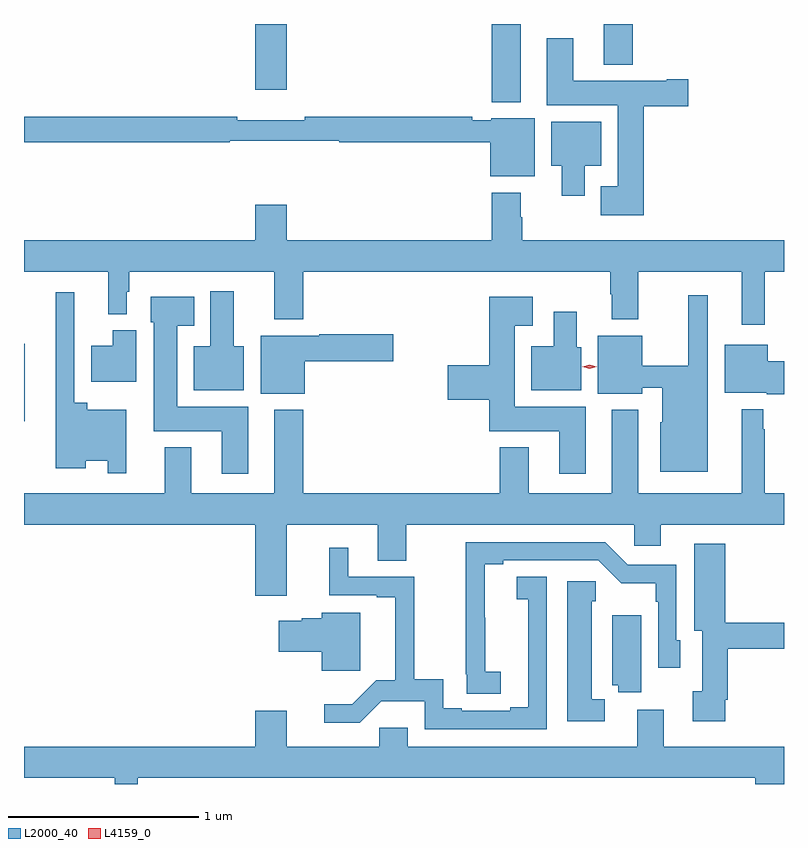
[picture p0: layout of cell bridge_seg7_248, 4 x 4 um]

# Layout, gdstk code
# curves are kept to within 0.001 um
import gdstk
lib = gdstk.Library(unit=1e-6, precision=1e-09)
def R(c, l, rs):  # rectangles x0, y0, x1, y1
    for r in rs: c.add(gdstk.rectangle(r[:2], r[2:], *l))
def P(c, l, *ps):  # polygons
    for p in ps: c.add(gdstk.Polygon(p, *l))
L2000_40 = (2000, 40)
L4159_0 = (4159, 0)

bridge_seg7_248 = lib.new_cell('bridge_seg7_248')
R(bridge_seg7_248, L2000_40, [(223.73,1071.755,223.735,1072.165), (226.193,1073.435,226.345,1073.847), (224.948,1073.502,225.112,1073.847), (226.781,1073.633,226.934,1073.847)])
P(bridge_seg7_248, L2000_40, [(226.991,1073.414),(227.227,1073.414),(227.227,1073.556),(227.114,1073.556),(227.114,1073.548),(226.621,1073.548),(226.621,1073.773),(226.481,1073.773),(226.481,1073.42),(226.856,1073.42),(226.856,1072.993),(226.766,1072.993),(226.766,1072.841),(226.991,1072.841)],
  [(226.417,1073.35),(226.188,1073.35),(226.188,1073.34),(226.088,1073.34),(226.088,1073.36),(225.208,1073.36),(225.208,1073.341),(224.852,1073.341),(224.852,1073.36),(223.73,1073.36),(223.73,1073.224),(224.814,1073.224),(224.814,1073.232),(225.388,1073.232),(225.388,1073.224),(226.184,1073.224),(226.184,1073.045),(226.417,1073.045)],
  [(226.681,1073.102),(226.768,1073.102),(226.768,1073.332),(226.505,1073.332),(226.505,1073.102),(226.559,1073.102),(226.559,1072.944),(226.681,1072.944)],
  [(227.629,1072.544),(227.73,1072.544),(227.73,1072.708),(226.353,1072.708),(226.353,1072.829),(226.345,1072.829),(226.345,1072.96),(226.193,1072.96),(226.193,1072.708),(225.112,1072.708),(225.112,1072.897),(224.948,1072.897),(224.948,1072.708),(223.73,1072.708),(223.73,1072.544),(224.174,1072.544),(224.174,1072.319),(224.271,1072.319),(224.271,1072.437),(224.284,1072.437),(224.284,1072.544),(225.047,1072.544),(225.047,1072.292),(225.2,1072.292),(225.2,1072.544),(226.816,1072.544),(226.816,1072.424),(226.823,1072.424),(226.823,1072.292),(226.963,1072.292),(226.963,1072.544),(227.507,1072.544),(227.507,1072.263),(227.629,1072.263)],
  [(224.887,1072.15),(224.833,1072.15),(224.833,1072.441),(224.711,1072.441),(224.711,1072.15),(224.624,1072.15),(224.624,1071.92),(224.887,1071.92)],
  [(224.268,1071.817),(224.064,1071.817),(224.064,1071.853),(223.995,1071.853),(223.995,1072.435),(223.898,1072.435),(223.898,1071.509),(224.056,1071.509),(224.056,1071.548),(224.172,1071.548),(224.172,1071.483),(224.268,1071.483)],
  [(227.329,1072.42),(227.225,1072.42),(227.225,1072.049),(226.984,1072.049),(226.984,1072.207),(226.751,1072.207),(226.751,1071.902),(226.984,1071.902),(226.984,1071.932),(227.09,1071.932),(227.09,1071.75),(227.078,1071.75),(227.078,1071.491),(227.329,1071.491)],
  [(226.687,1071.832),(226.312,1071.832),(226.312,1072.259),(226.408,1072.259),(226.408,1072.411),(226.178,1072.411),(226.178,1072.052),(225.96,1072.052),(225.96,1071.869),(226.178,1071.869),(226.178,1071.704),(226.547,1071.704),(226.547,1071.48),(226.687,1071.48)],
  [(224.911,1071.832),(224.536,1071.832),(224.536,1072.259),(224.626,1072.259),(224.626,1072.411),(224.397,1072.411),(224.397,1072.278),(224.414,1072.278),(224.414,1071.704),(224.771,1071.704),(224.771,1071.48),(224.911,1071.48)],
  [(226.663,1072.146),(226.639,1072.146),(226.639,1072.333),(226.517,1072.333),(226.517,1072.15),(226.4,1072.15),(226.4,1071.92),(226.663,1071.92)],
  [(224.32,1072.234),(224.198,1072.234),(224.198,1072.153),(224.084,1072.153),(224.084,1071.965),(224.32,1071.965)],
  [(225.208,1072.073),(225.673,1072.073),(225.673,1072.215),(225.283,1072.215),(225.283,1072.207),(224.975,1072.207),(224.975,1071.902),(225.208,1071.902)],
  [(227.73,1072.071),(227.644,1072.071),(227.644,1072.159),(227.417,1072.159),(227.417,1071.905),(227.64,1071.905),(227.64,1071.899),(227.73,1071.899)],
  [(225.593,1071.022),(225.741,1071.022),(225.741,1071.212),(226.941,1071.212),(226.941,1071.102),(227.08,1071.102),(227.08,1071.212),(227.73,1071.212),(227.73,1071.376),(227.629,1071.376),(227.629,1071.713),(227.621,1071.713),(227.621,1071.82),(227.507,1071.82),(227.507,1071.376),(226.963,1071.376),(226.963,1071.817),(226.823,1071.817),(226.823,1071.376),(226.387,1071.376),(226.387,1071.619),(226.235,1071.619),(226.235,1071.376),(225.2,1071.376),(225.2,1071.817),(225.047,1071.817),(225.047,1071.376),(224.611,1071.376),(224.611,1071.619),(224.471,1071.619),(224.471,1071.376),(223.73,1071.376),(223.73,1071.212),(224.948,1071.212),(224.948,1070.838),(225.112,1070.838),(225.112,1071.212),(225.593,1071.212)],
  [(226.24,1070.438),(226.158,1070.438),(226.156,1071.004),(226.252,1071.004),(226.252,1071.024),(226.752,1071.024),(226.873,1070.903),(227.055,1070.903),(227.055,1070.807),(227.067,1070.807),(227.067,1070.46),(227.184,1070.46),(227.184,1070.604),(227.163,1070.604),(227.163,1071),(226.908,1071),(226.788,1071.12),(226.054,1071.12),(226.054,1070.425),(226.06,1070.425),(226.06,1070.323),(226.24,1070.323)],
  [(227.422,1070.29),(227.435,1070.29),(227.435,1070.56),(227.73,1070.56),(227.73,1070.696),(227.422,1070.696),(227.422,1071.112),(227.258,1071.112),(227.258,1070.654),(227.3,1070.654),(227.3,1070.334),(227.25,1070.334),(227.25,1070.178),(227.422,1070.178)],
  [(226.482,1070.939),(226.323,1070.939),(226.323,1070.819),(226.384,1070.819),(226.385,1070.252),(226.289,1070.252),(226.289,1070.232),(226.033,1070.232),(226.033,1070.246),(225.936,1070.246),(225.936,1070.399),(225.785,1070.399),(225.785,1070.937),(225.436,1070.937),(225.436,1071.091),(225.337,1071.091),(225.337,1070.841),(225.587,1070.841),(225.587,1070.829),(225.683,1070.829),(225.683,1070.392),(225.583,1070.392),(225.457,1070.266),(225.309,1070.266),(225.309,1070.169),(225.498,1070.169),(225.611,1070.282),(225.84,1070.282),(225.84,1070.136),(226.482,1070.136)],
  [(226.786,1070.292),(226.717,1070.292),(226.717,1070.808),(226.739,1070.808),(226.739,1070.914),(226.589,1070.914),(226.589,1070.177),(226.786,1070.177)],
  [(225.499,1070.749),(225.296,1070.749),(225.296,1070.72),(225.192,1070.72),(225.192,1070.707),(225.072,1070.707),(225.072,1070.542),(225.296,1070.542),(225.296,1070.444),(225.499,1070.444)],
  [(226.978,1070.734),(226.826,1070.734),(226.826,1070.366),(226.858,1070.366),(226.858,1070.329),(226.978,1070.329)],
  [(224.329,1069.88),(227.579,1069.88),(227.579,1069.847),(227.73,1069.847),(227.73,1070.044),(227.098,1070.044),(227.098,1070.239),(226.958,1070.239),(226.958,1070.044),(225.751,1070.044),(225.751,1070.142),(225.6,1070.142),(225.6,1070.044),(225.112,1070.044),(225.112,1070.233),(224.948,1070.233),(224.948,1070.044),(223.73,1070.044),(223.73,1069.88),(224.208,1069.88),(224.208,1069.847),(224.329,1069.847)])
P(bridge_seg7_248, L4159_0, [(226.707,1072.033),(226.668,1072.043),(226.668,1072.043),(226.668,1072.043),(226.707,1072.053),(226.745,1072.043),(226.745,1072.043),(226.745,1072.043)])

lib.write_gds('bridge_seg7_248.gds')
